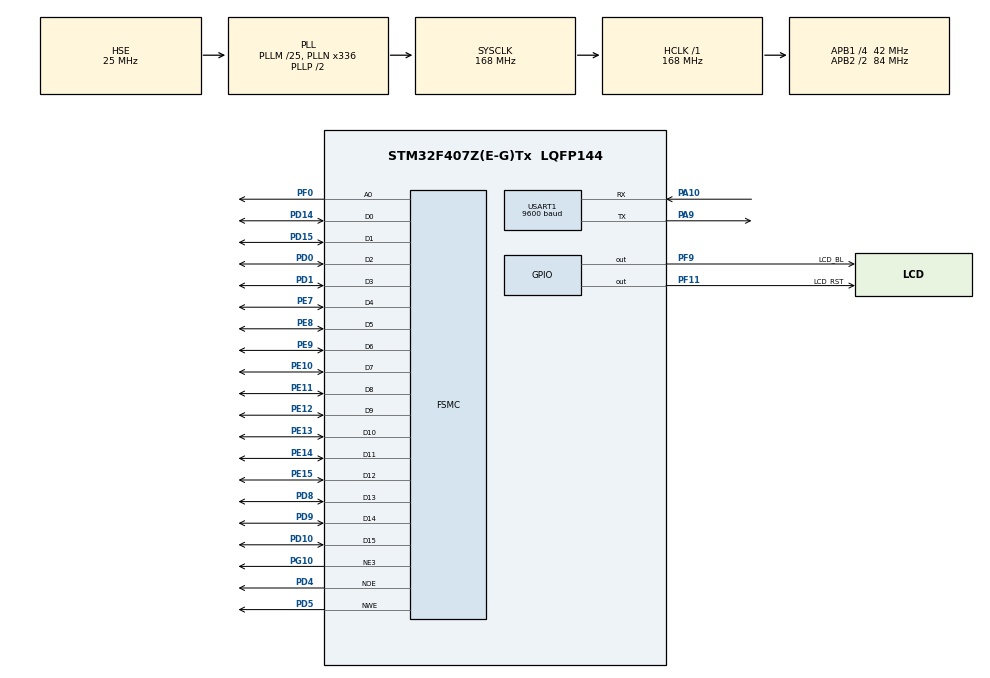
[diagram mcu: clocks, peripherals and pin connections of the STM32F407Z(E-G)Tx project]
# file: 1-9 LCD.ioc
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Dma.MEMTOMEM.0.Direction=DMA_MEMORY_TO_MEMORY
Dma.MEMTOMEM.0.FIFOMode=DMA_FIFOMODE_ENABLE
Dma.MEMTOMEM.0.FIFOThreshold=DMA_FIFO_THRESHOLD_FULL
Dma.MEMTOMEM.0.Instance=DMA2_Stream7
Dma.MEMTOMEM.0.MemBurst=DMA_MBURST_SINGLE
Dma.MEMTOMEM.0.MemDataAlignment=DMA_MDATAALIGN_HALFWORD
Dma.MEMTOMEM.0.MemInc=DMA_MINC_ENABLE
Dma.MEMTOMEM.0.Mode=DMA_NORMAL
Dma.MEMTOMEM.0.PeriphBurst=DMA_PBURST_SINGLE
Dma.MEMTOMEM.0.PeriphDataAlignment=DMA_PDATAALIGN_HALFWORD
Dma.MEMTOMEM.0.PeriphInc=DMA_PINC_ENABLE
Dma.MEMTOMEM.0.Priority=DMA_PRIORITY_LOW
Dma.Request0=MEMTOMEM
FSMC.AddressSetupTime1=5
FSMC.BusTurnAroundDuration1=5
FSMC.DataSetupTime1=10
FSMC.ExtendedMode1=FSMC_EXTENDED_MODE_DISABLE
FSMC.WriteOperation1=FSMC_WRITE_OPERATION_ENABLE
Mcu.Family=STM32F4
Mcu.Name=STM32F407Z(E-G)Tx
Mcu.Package=LQFP144
NVIC.DMA2_Stream7_IRQn=true\:1\:0\:true\:false\:true\:true\:true\:true
NVIC.PriorityGroup=NVIC_PRIORITYGROUP_4
NVIC.USART1_IRQn=true\:2\:0\:true\:false\:true\:true\:true\:true
PA10.Mode=Asynchronous
PA10.Signal=USART1_RX
PA9.Mode=Asynchronous
PA9.Signal=USART1_TX
PD0.Signal=FSMC_D2_DA2
PD1.Signal=FSMC_D3_DA3
PD10.Signal=FSMC_D15_DA15
PD14.Signal=FSMC_D0_DA0
PD15.Signal=FSMC_D1_DA1
PD4.Signal=FSMC_NOE
PD5.Signal=FSMC_NWE
PD8.Signal=FSMC_D13_DA13
PD9.Signal=FSMC_D14_DA14
PE10.Signal=FSMC_D7_DA7
PE11.Signal=FSMC_D8_DA8
PE12.Signal=FSMC_D9_DA9
PE13.Signal=FSMC_D10_DA10
PE14.Signal=FSMC_D11_DA11
PE15.Signal=FSMC_D12_DA12
PE7.Signal=FSMC_D4_DA4
PE8.Signal=FSMC_D5_DA5
PE9.Signal=FSMC_D6_DA6
PF0.Signal=FSMC_A0
PF11.GPIO_Label=LCD_RST
PF11.GPIO_Speed=GPIO_SPEED_FREQ_VERY_HIGH
PF11.PinState=GPIO_PIN_SET
PF11.Signal=GPIO_Output
PF9.GPIO_Label=LCD_BL
PF9.GPIO_Speed=GPIO_SPEED_FREQ_VERY_HIGH
PF9.PinState=GPIO_PIN_SET
PF9.Signal=GPIO_Output
PG10.Mode=NorPsramChipSelect3_1
PG10.Signal=FSMC_NE3
PH0-OSC_IN.Mode=HSE-External-Oscillator
PH0-OSC_IN.Signal=RCC_OSC_IN
PH1-OSC_OUT.Mode=HSE-External-Oscillator
PH1-OSC_OUT.Signal=RCC_OSC_OUT
ProjectManager.HeapSize=0x200
ProjectManager.StackSize=0x400
ProjectManager.TargetToolchain=MDK-ARM V5
RCC.48MHZClocksFreq_Value=84000000
RCC.AHBFreq_Value=168000000
RCC.APB1CLKDivider=RCC_HCLK_DIV4
RCC.APB1Freq_Value=42000000
RCC.APB1TimFreq_Value=84000000
RCC.APB2CLKDivider=RCC_HCLK_DIV2
RCC.APB2Freq_Value=84000000
RCC.APB2TimFreq_Value=168000000
RCC.CortexFreq_Value=168000000
RCC.HCLKFreq_Value=168000000
RCC.HSE_VALUE=25000000
RCC.HSI_VALUE=16000000
RCC.LSE_VALUE=32768
RCC.PLLM=25
RCC.PLLN=336
RCC.PLLSourceVirtual=RCC_PLLSOURCE_HSE
RCC.SYSCLKFreq_VALUE=168000000
RCC.SYSCLKSource=RCC_SYSCLKSOURCE_PLLCLK
RCC.VCOOutputFreq_Value=336000000
SH.FSMC_A0.0=FSMC_A0,A0_1
SH.FSMC_D0_DA0.0=FSMC_D0,16b-d1
SH.FSMC_D10_DA10.0=FSMC_D10,16b-d1
SH.FSMC_D11_DA11.0=FSMC_D11,16b-d1
SH.FSMC_D12_DA12.0=FSMC_D12,16b-d1
SH.FSMC_D13_DA13.0=FSMC_D13,16b-d1
SH.FSMC_D14_DA14.0=FSMC_D14,16b-d1
SH.FSMC_D15_DA15.0=FSMC_D15,16b-d1
SH.FSMC_D1_DA1.0=FSMC_D1,16b-d1
SH.FSMC_D2_DA2.0=FSMC_D2,16b-d1
SH.FSMC_D3_DA3.0=FSMC_D3,16b-d1
SH.FSMC_D4_DA4.0=FSMC_D4,16b-d1
SH.FSMC_D5_DA5.0=FSMC_D5,16b-d1
SH.FSMC_D6_DA6.0=FSMC_D6,16b-d1
SH.FSMC_D7_DA7.0=FSMC_D7,16b-d1
SH.FSMC_D8_DA8.0=FSMC_D8,16b-d1
SH.FSMC_D9_DA9.0=FSMC_D9,16b-d1
SH.FSMC_NOE.0=FSMC_NOE,Lcd1
SH.FSMC_NWE.0=FSMC_NWE,Lcd1
USART1.BaudRate=9600
USART1.VirtualMode=VM_ASYNC
board=custom

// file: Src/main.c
/* USER CODE BEGIN Header */
/**
  ******************************************************************************
  * @file           : main.c
  * @brief          : Main program body
  ******************************************************************************
  * @attention
  *
  * Copyright (c) 2024 STMicroelectronics.
  * All rights reserved.
  *
  * This software is licensed under terms that can be found in the LICENSE file
  * in the root directory of this software component.
  * If no LICENSE file comes with this software, it is provided AS-IS.
  *
  ******************************************************************************
  */
/* USER CODE END Header */
#include "main.h"
#include "dma.h"
#include "usart.h"
#include "gpio.h"
#include "fsmc.h"

/* USER CODE BEGIN Includes */
#include "bsp_8080LCD.h"
#include "lvgl.h"
#include "lv_port_disp.h"
#include "lv_port_indev.h"
#include "gt9xx_pure.h"
/* USER CODE END Includes */

void SystemClock_Config(void);

/* USER CODE BEGIN 0 */
static void lv_touch_demo(void)
{
  lv_obj_t * obj = lv_obj_create(lv_scr_act());

	static lv_style_t obj_style;
	lv_style_init(&obj_style);

	lv_style_set_bg_color(&obj_style, lv_color_hex(0xFFFF00));

	lv_obj_add_style(obj, &obj_style, LV_STATE_PRESSED);

	lv_obj_align(obj, LV_ALIGN_CENTER, 0, 0);
	lv_obj_set_size(obj ,150, 150);

}

void lv_ex_label(void)
{
		char* github_addr = "https://gitee.com/W23";
		lv_obj_t * label = lv_label_create(lv_scr_act());
    lv_label_set_recolor(label, true);
    lv_label_set_long_mode(label, LV_LABEL_LONG_SCROLL_CIRCULAR); /*Circular scroll*/
    lv_obj_set_width(label, 120);
    lv_label_set_text_fmt(label, "#ff0000 Gitee: %s#", github_addr);
    lv_obj_align(label, LV_ALIGN_CENTER, 0, 10);

    lv_obj_t * label2 = lv_label_create(lv_scr_act());
    lv_label_set_recolor(label2, true);
    lv_label_set_long_mode(label2, LV_LABEL_LONG_SCROLL_CIRCULAR); /*Circular scroll*/
    lv_obj_set_width(label2, 120);
    lv_label_set_text_fmt(label2, "#ff0000 Hello# #0000ff world !123456789#");
    lv_obj_align(label2, LV_ALIGN_CENTER, 0, -10);
}

static void lv_example_slider_2(void)
{
    /*Create a transition*/
    static const lv_style_prop_t props[] = {LV_STYLE_BG_COLOR, 0};
    static lv_style_transition_dsc_t transition_dsc;
    lv_style_transition_dsc_init(&transition_dsc, props, lv_anim_path_linear, 300, 0, NULL);

    static lv_style_t style_main;           // 矩形背景部分
    static lv_style_t style_indicator;      // 指针部分
    static lv_style_t style_knob;           // 旋钮部分
    static lv_style_t style_pressed_color;  // 对象某部分被按下时，该部分样式应用的颜色

    // 矩形背景部分
    lv_style_init(&style_main);
    lv_style_set_bg_opa(&style_main, LV_OPA_COVER);
    lv_style_set_bg_color(&style_main, lv_color_hex3(0xbbb));
    //lv_style_set_outline_width(&style_main, 5);
    //lv_style_set_border_width(&style_main, 2);
    lv_style_set_radius(&style_main, LV_RADIUS_CIRCLE);
    lv_style_set_pad_ver(&style_main, -2); /*Makes the indicator larger*/

    // 指针部分
    lv_style_init(&style_indicator);
    lv_style_set_bg_opa(&style_indicator, LV_OPA_COVER);
    lv_style_set_bg_color(&style_indicator, lv_palette_main(LV_PALETTE_CYAN));
    lv_style_set_radius(&style_indicator, LV_RADIUS_CIRCLE);
    lv_style_set_transition(&style_indicator, &transition_dsc);

    // 旋钮部分
    lv_style_init(&style_knob);
    lv_style_set_bg_opa(&style_knob, LV_OPA_COVER);
    lv_style_set_bg_color(&style_knob, lv_palette_main(LV_PALETTE_CYAN));
    lv_style_set_border_color(&style_knob, lv_palette_darken(LV_PALETTE_CYAN, 3));
    lv_style_set_border_width(&style_knob, 2);
    lv_style_set_radius(&style_knob, LV_RADIUS_CIRCLE);
    lv_style_set_pad_all(&style_knob, 6); /*Makes the knob larger*/
    lv_style_set_transition(&style_knob, &transition_dsc);

    // 对象某部分被按下时，该部分样式应用的颜色
    lv_style_init(&style_pressed_color);
    lv_style_set_bg_color(&style_pressed_color, lv_palette_darken(LV_PALETTE_CYAN, 2));

    /*Create a slider and add the style*/
    lv_obj_t * slider = lv_slider_create(lv_scr_act());

    // 体验流程：先体验 lv_obj_add_style 都被注释时的效果；然后一个个去掉注释
    //lv_obj_remove_style_all(slider);                                                        // 删除对象的所有样式，然后下面再添加我们自定义的样式
    //lv_obj_add_style(slider, &style_main, LV_PART_MAIN);                                    // 矩形背景部分
    //lv_obj_add_style(slider, &style_indicator, LV_PART_INDICATOR);                          // 指针部分
    //lv_obj_add_style(slider, &style_pressed_color, LV_PART_INDICATOR | LV_STATE_PRESSED);   // 当指针部分被按下的时候，指针部分应用该样式
    //lv_obj_add_style(slider, &style_knob, LV_PART_KNOB);                                    // 旋钮部分，像按钮一样可以抓取调整值
    //lv_obj_add_style(slider, &style_pressed_color, LV_PART_KNOB | LV_STATE_PRESSED);        // 当旋钮部分被按下的时候，旋钮部分应用该样式

    lv_obj_center(slider);
}

/* USER CODE END 0 */

int main(void)
{

  /* MCU Configuration--------------------------------------------------------*/

  /* Reset of all peripherals, Initializes the Flash interface and the Systick. */
  HAL_Init();

  /* Configure the system clock */
  SystemClock_Config();

  /* Initialize all configured peripherals */
  MX_GPIO_Init();
  MX_DMA_Init();
  MX_FSMC_Init();
  MX_USART1_UART_Init();
  /* USER CODE BEGIN 2 */

	lcdInit();
	lv_init();
	lv_port_disp_init();
	lv_port_indev_init();

	lv_example_slider_2();

	//lv_ex_label();

  /* USER CODE END 2 */

  /* Infinite loop */
  /* USER CODE BEGIN WHILE */
  while (1)
  {
		lv_tick_inc(1);
		lv_task_handler();
		HAL_Delay(1);
    /* USER CODE END WHILE */

  }
}

void SystemClock_Config(void)
{
  RCC_OscInitTypeDef RCC_OscInitStruct = {0};
  RCC_ClkInitTypeDef RCC_ClkInitStruct = {0};

  /** Configure the main internal regulator output voltage
  */
  __HAL_RCC_PWR_CLK_ENABLE();
  __HAL_PWR_VOLTAGESCALING_CONFIG(PWR_REGULATOR_VOLTAGE_SCALE1);

  /** Initializes the RCC Oscillators according to the specified parameters
  * in the RCC_OscInitTypeDef structure.
  */
  RCC_OscInitStruct.OscillatorType = RCC_OSCILLATORTYPE_HSE;
  RCC_OscInitStruct.HSEState = RCC_HSE_ON;
  RCC_OscInitStruct.PLL.PLLState = RCC_PLL_ON;
  RCC_OscInitStruct.PLL.PLLSource = RCC_PLLSOURCE_HSE;
  RCC_OscInitStruct.PLL.PLLM = 25;
  RCC_OscInitStruct.PLL.PLLN = 336;
  RCC_OscInitStruct.PLL.PLLP = RCC_PLLP_DIV2;
  RCC_OscInitStruct.PLL.PLLQ = 4;
  if (HAL_RCC_OscConfig(&RCC_OscInitStruct) != HAL_OK)
  {
    Error_Handler();
  }

  /** Initializes the CPU, AHB and APB buses clocks
  */
  RCC_ClkInitStruct.ClockType = RCC_CLOCKTYPE_HCLK|RCC_CLOCKTYPE_SYSCLK
                              |RCC_CLOCKTYPE_PCLK1|RCC_CLOCKTYPE_PCLK2;
  RCC_ClkInitStruct.SYSCLKSource = RCC_SYSCLKSOURCE_PLLCLK;
  RCC_ClkInitStruct.AHBCLKDivider = RCC_SYSCLK_DIV1;
  RCC_ClkInitStruct.APB1CLKDivider = RCC_HCLK_DIV4;
  RCC_ClkInitStruct.APB2CLKDivider = RCC_HCLK_DIV2;

  if (HAL_RCC_ClockConfig(&RCC_ClkInitStruct, FLASH_LATENCY_5) != HAL_OK)
  {
    Error_Handler();
  }
}

void Error_Handler(void)
{
  __disable_irq();
  while (1)
  {
  }
}
